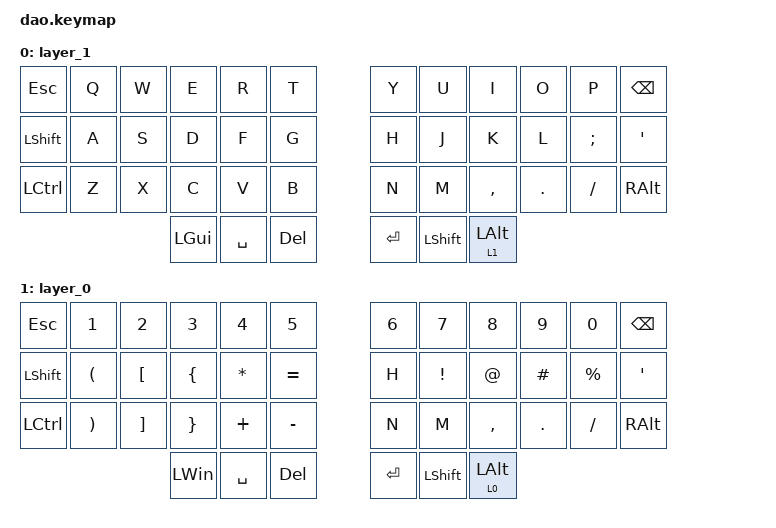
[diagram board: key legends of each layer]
#include <behaviors.dtsi>
#include <dt-bindings/zmk/keys.h>

/ {
    keymap {
        compatible = "zmk,keymap";

        layer_1 {
            bindings = <
  &kp ESC    &kp Q  &kp W  &kp E     &kp R      &kp T         &kp Y      &kp U      &kp I       &kp O    &kp P     &kp BSPC
  &kp LSHFT  &kp A  &kp S  &kp D     &kp F      &kp G         &kp H      &kp J      &kp K       &kp L    &kp SEMI  &kp APOS
  &kp LCTRL  &kp Z  &kp X  &kp C     &kp V      &kp B         &kp N      &kp M      &kp COMMA   &kp DOT  &kp FSLH  &kp RALT
                           &kp LGUI  &kp SPACE  &kp DELETE    &kp ENTER  &kp LSHFT  &lt 1 LALT
            >;
        };

        layer_0 {
            bindings = <
  &kp ESCAPE  &kp N1                 &kp N2             &kp N3           &kp N4        &kp N5       &kp N6     &kp N7           &kp N8       &kp N9    &kp N0       &kp BACKSPACE
  &kp LSHFT   &kp LEFT_PARENTHESIS   &kp LEFT_BRACKET   &kp LEFT_BRACE   &kp ASTERISK  &kp EQUAL    &kp H      &kp EXCLAMATION  &kp AT_SIGN  &kp HASH  &kp PERCENT  &kp SQT
  &kp LCTRL   &kp RIGHT_PARENTHESIS  &kp RIGHT_BRACKET  &kp RIGHT_BRACE  &kp PLUS      &kp MINUS    &kp N      &kp M            &kp COMMA    &kp DOT   &kp SLASH    &kp RALT
                                                        &kp LEFT_WIN     &kp SPACE     &kp DEL      &kp ENTER  &kp LEFT_SHIFT   &lt 0 LALT
            >;
        };
    };
};
